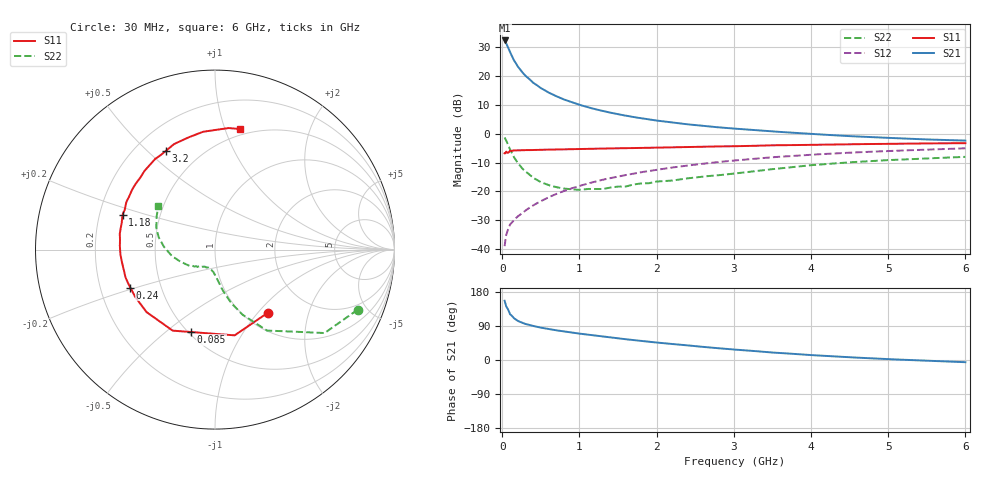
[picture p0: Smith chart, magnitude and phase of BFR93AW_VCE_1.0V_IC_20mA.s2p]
! Infineon Technologies  Discrete & RF Semiconductors
! BFR93AW
! VCE =  1.0 V,  IC =  20 mA
! Common Emitter S-Parameters:  Nov 2015
# GHz  S  MA  R  50
!  f  S11  S21  S12  S22
! GHz  MAG  ANG  MAG  ANG  MAG  ANG  MAG  ANG
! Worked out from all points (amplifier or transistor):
!   206 points, 30 MHz to 6 GHz, reference 50 ohm
!   highest |S21| = 32.3 dB at 30 MHz (marker M1)
!   |S21| within 3 dB of that: start of sweep to 82.69 MHz
!   unconditionally stable (mu >= 1): 483.3 MHz to 2.674 GHz
!   at 200 MHz: K = 0.73, MSG = 26.0 dB, |S12| = -28.7 dB
!   at 1.56 GHz: K = 1.06, MAG = 9.0 dB, |S12| = -14.5 dB
!   at 6 GHz: K = 0.97, MSG = 1.3 dB, |S12| = -5.1 dB
!   S11 on the Smith chart (normalised r, x): 30 MHz: 1.27, -1.13; 85 MHz: 0.52, -0.61; 240 MHz: 0.33, -0.19; 1.18 GHz: 0.30, +0.17; 3.2 GHz: 0.32, +0.57; 6 GHz: 0.44, +1.13
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0.03  0.4587 -50.2  41.23 156.5  0.0113 69.9  0.8621 -22.9
0.05  0.4901 -77.1  36.94 141.7  0.0175 64.4  0.7671 -37.3
0.085  0.478 -106.1  28.7 128.8  0.0239 58.3  0.5966 -49.7
0.1  0.5094 -117.6  25.82 120.9  0.0268 56.6  0.5359 -57.3
0.15  0.5163 -137.6  18.8 110.1  0.0315 54.2  0.3946 -67.0
0.2  0.5169 -149.2  14.69 103.3  0.0369 57.3  0.3124 -73.0
0.24  0.5173 -155.8  12.49 99.8  0.0405 58.1  0.2675 -76.1
0.3  0.522 -162.7  10.08 95.1  0.0468 60.1  0.222 -80.0
0.4  0.5229 -171.3  7.644 89.6  0.0574 62.8  0.1726 -84.6
0.5  0.5277 -177.2  6.17 85.3  0.068 65.1  0.1448 -89.6
0.6  0.5306 178.5  5.166 81.7  0.0794 66.2  0.1285 -92.9
0.7  0.5318 174.3  4.464 78.3  0.0907 67.1  0.1187 -97.4
0.8  0.5378 170.6  3.913 75.3  0.1021 67.1  0.1124 -103.6
1.04  0.5423 163.1  3.057 68.6  0.1293 66.6  0.1082 -112.3
1.18  0.5497 159.3  2.712 65.0  0.1455 66.1  0.1107 -117.7
1.5  0.5606 151.7  2.174 57.1  0.1816 64.2  0.1214 -128.0
2.02  0.5748 139.5  1.679 45.6  0.2397 59.4  0.1493 -140.9
3.1  0.6108 118.1  1.201 26.2  0.3527 48.1  0.2111 -163.2
3.2  0.6149 116.3  1.174 24.7  0.3622 46.9  0.2187 -165.6
4.1  0.6456 101.4  0.975 11.9  0.4408 36.6  0.2917 174.8
5.1  0.67 88.1  0.838 1.4  0.5081 25.7  0.3537 157.6
6  0.686 78.2  0.761 -5.8  0.5591 16.7  0.3978 142.5
